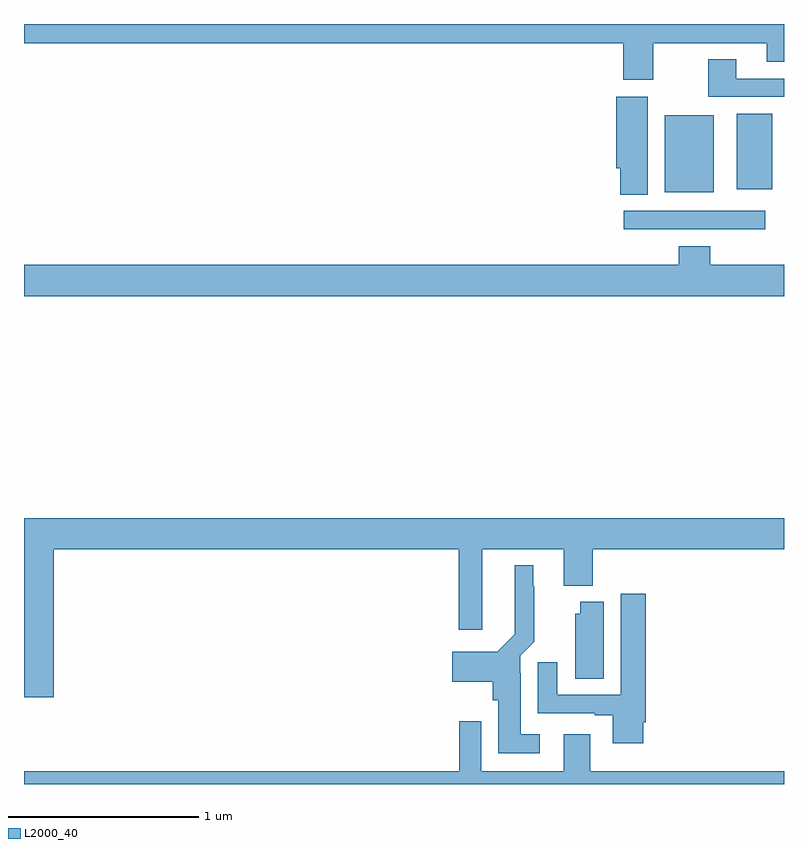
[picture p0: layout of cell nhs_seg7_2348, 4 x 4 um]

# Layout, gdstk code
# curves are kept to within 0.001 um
import gdstk
lib = gdstk.Library(unit=1e-6, precision=1e-09)
def R(c, l, rs):  # rectangles x0, y0, x1, y1
    for r in rs: c.add(gdstk.rectangle(r[:2], r[2:], *l))
def P(c, l, *ps):  # polygons
    for p in ps: c.add(gdstk.Polygon(p, *l))
L2000_40 = (2000, 40)

nhs_seg7_2348 = lib.new_cell('nhs_seg7_2348')
R(nhs_seg7_2348, L2000_40, [(266.157,1048.92,266.902,1049.016), (266.372,1049.114,266.629,1049.521), (266.75,1049.129,266.938,1049.527)])
P(nhs_seg7_2348, L2000_40, [(266.313,1049.9),(266.909,1049.9),(266.909,1049.801),(267,1049.801),(267,1050),(263,1050),(263,1049.9),(266.153,1049.9),(266.153,1049.706),(266.313,1049.706)],
  [(267,1049.712),(266.749,1049.712),(266.749,1049.815),(266.602,1049.815),(266.602,1049.616),(267,1049.616)],
  [(266.284,1049.617),(266.117,1049.617),(266.117,1049.241),(266.138,1049.241),(266.138,1049.101),(266.284,1049.101)],
  [(267,1048.732),(266.612,1048.732),(266.612,1048.831),(266.447,1048.831),(266.447,1048.732),(263,1048.732),(263,1048.568),(267,1048.568)],
  [(263.156,1047.236),(265.289,1047.236),(265.289,1046.811),(265.411,1046.811),(265.411,1047.236),(265.841,1047.236),(265.841,1047.044),(265.994,1047.044),(265.994,1047.236),(267,1047.236),(267,1047.4),(263,1047.4),(263,1046.457),(263.156,1046.457)],
  [(265.714,1046.263),(265.615,1046.263),(265.615,1046.582),(265.611,1046.582),(265.611,1046.676),(265.685,1046.75),(265.685,1047.041),(265.681,1047.041),(265.681,1047.151),(265.583,1047.151),(265.584,1046.788),(265.491,1046.695),(265.254,1046.695),(265.254,1046.537),(265.466,1046.537),(265.466,1046.442),(265.496,1046.442),(265.496,1046.162),(265.714,1046.162)],
  [(266.26,1046.326),(266.273,1046.326),(266.273,1047.001),(266.141,1047.001),(266.141,1046.469),(265.807,1046.469),(265.807,1046.641),(265.703,1046.641),(265.703,1046.373),(266.003,1046.373),(266.003,1046.361),(266.099,1046.361),(266.099,1046.214),(266.26,1046.214)],
  [(266.05,1046.959),(265.928,1046.959),(265.928,1046.895),(265.901,1046.895),(265.901,1046.554),(266.05,1046.554)],
  [(267,1046.068),(265.981,1046.068),(265.981,1046.263),(265.841,1046.263),(265.841,1046.068),(265.407,1046.068),(265.407,1046.329),(265.291,1046.329),(265.291,1046.068),(263,1046.068),(263,1046),(267,1046)])

lib.write_gds('nhs_seg7_2348.gds')
